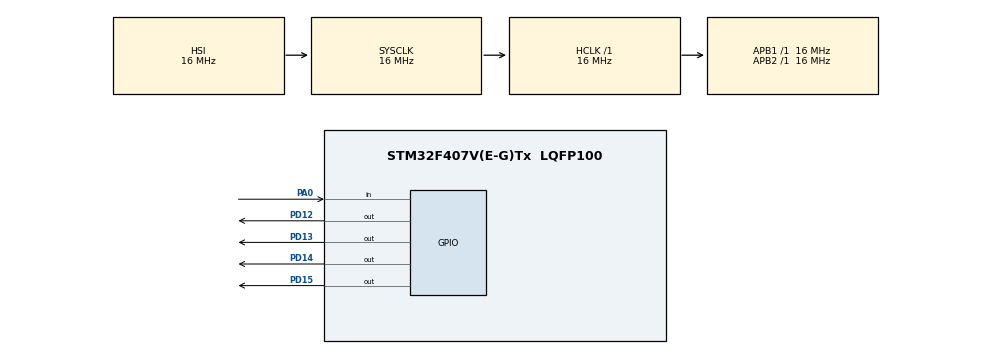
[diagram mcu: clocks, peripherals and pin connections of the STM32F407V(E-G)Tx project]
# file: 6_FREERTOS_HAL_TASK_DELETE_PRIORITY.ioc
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Mcu.Family=STM32F4
Mcu.Name=STM32F407V(E-G)Tx
Mcu.Package=LQFP100
NVIC.PriorityGroup=NVIC_PRIORITYGROUP_4
PA0-WKUP.Signal=GPIO_Input
PD12.Signal=GPIO_Output
PD13.Signal=GPIO_Output
PD14.Signal=GPIO_Output
PD15.Signal=GPIO_Output
ProjectManager.HeapSize=0x200
ProjectManager.StackSize=0x400
ProjectManager.TargetToolchain=STM32CubeIDE
RCC.AHBFreq_Value=16000000
RCC.APB1Freq_Value=16000000
RCC.APB2Freq_Value=16000000
RCC.CortexFreq_Value=16000000
RCC.HSE_VALUE=25000000
RCC.HSI_VALUE=16000000
RCC.LSE_VALUE=32768
RCC.SYSCLKFreq_VALUE=16000000
RCC.VCOOutputFreq_Value=192000000
board=custom

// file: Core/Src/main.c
/* USER CODE BEGIN Header */
/**
  ******************************************************************************
  * @file           : main.c
  * @brief          : Main program body
  ******************************************************************************
  * @attention
  *
  * Copyright (c) 2022 STMicroelectronics.
  * All rights reserved.
  *
  * This software is licensed under terms that can be found in the LICENSE file
  * in the root directory of this software component.
  * If no LICENSE file comes with this software, it is provided AS-IS.
  *
  ******************************************************************************
  */
/* USER CODE END Header */
#include "main.h"

/* USER CODE BEGIN Includes */
#include "FreeRTOS.h"
#include "task.h"
/* USER CODE END Includes */

/* USER CODE BEGIN PV */
TaskHandle_t MyTask1Handle = NULL;
TaskHandle_t MyTask2Handle = NULL;
/* USER CODE END PV */

void SystemClock_Config(void);
static void MX_GPIO_Init(void);
/* USER CODE BEGIN PFP */
void Task1Handler(void *params);
void Task2Handler(void *params);
void RTOSDelay(uint32_t *DelayMs);
/* USER CODE END PFP */

int main(void)
{

  /* MCU Configuration--------------------------------------------------------*/

  /* Reset of all peripherals, Initializes the Flash interface and the Systick. */
  HAL_Init();

  /* Configure the system clock */
  SystemClock_Config();

  /* Initialize all configured peripherals */
  MX_GPIO_Init();
  /* USER CODE BEGIN 2 */
  xTaskCreate(Task1Handler, "Task1", configMINIMAL_STACK_SIZE, NULL, 4, &MyTask1Handle);
  xTaskCreate(Task2Handler, "Task2", configMINIMAL_STACK_SIZE, NULL, 3 , &MyTask2Handle);

  vTaskStartScheduler();
  /* USER CODE END 2 */

  /* Infinite loop */
  while (1)
  {

  }
}

void SystemClock_Config(void)
{
  RCC_OscInitTypeDef RCC_OscInitStruct = {0};
  RCC_ClkInitTypeDef RCC_ClkInitStruct = {0};

  /** Configure the main internal regulator output voltage
  */
  __HAL_RCC_PWR_CLK_ENABLE();
  __HAL_PWR_VOLTAGESCALING_CONFIG(PWR_REGULATOR_VOLTAGE_SCALE1);

  /** Initializes the RCC Oscillators according to the specified parameters
  * in the RCC_OscInitTypeDef structure.
  */
  RCC_OscInitStruct.OscillatorType = RCC_OSCILLATORTYPE_HSI;
  RCC_OscInitStruct.HSIState = RCC_HSI_ON;
  RCC_OscInitStruct.HSICalibrationValue = RCC_HSICALIBRATION_DEFAULT;
  RCC_OscInitStruct.PLL.PLLState = RCC_PLL_NONE;
  if (HAL_RCC_OscConfig(&RCC_OscInitStruct) != HAL_OK)
  {
    Error_Handler();
  }

  /** Initializes the CPU, AHB and APB buses clocks
  */
  RCC_ClkInitStruct.ClockType = RCC_CLOCKTYPE_HCLK|RCC_CLOCKTYPE_SYSCLK
                              |RCC_CLOCKTYPE_PCLK1|RCC_CLOCKTYPE_PCLK2;
  RCC_ClkInitStruct.SYSCLKSource = RCC_SYSCLKSOURCE_HSI;
  RCC_ClkInitStruct.AHBCLKDivider = RCC_SYSCLK_DIV1;
  RCC_ClkInitStruct.APB1CLKDivider = RCC_HCLK_DIV1;
  RCC_ClkInitStruct.APB2CLKDivider = RCC_HCLK_DIV1;

  if (HAL_RCC_ClockConfig(&RCC_ClkInitStruct, FLASH_LATENCY_0) != HAL_OK)
  {
    Error_Handler();
  }
}

static void MX_GPIO_Init(void)
{
  GPIO_InitTypeDef GPIO_InitStruct = {0};

  /* GPIO Ports Clock Enable */
  __HAL_RCC_GPIOA_CLK_ENABLE();
  __HAL_RCC_GPIOD_CLK_ENABLE();

  /*Configure GPIO pin Output Level */
  HAL_GPIO_WritePin(GPIOD, GPIO_PIN_12|GPIO_PIN_13|GPIO_PIN_14|GPIO_PIN_15, GPIO_PIN_RESET);

  /*Configure GPIO pin : PA0 */
  GPIO_InitStruct.Pin = GPIO_PIN_0;
  GPIO_InitStruct.Mode = GPIO_MODE_INPUT;
  GPIO_InitStruct.Pull = GPIO_NOPULL;
  HAL_GPIO_Init(GPIOA, &GPIO_InitStruct);

  /*Configure GPIO pins : PD12 PD13 PD14 PD15 */
  GPIO_InitStruct.Pin = GPIO_PIN_12|GPIO_PIN_13|GPIO_PIN_14|GPIO_PIN_15;
  GPIO_InitStruct.Mode = GPIO_MODE_OUTPUT_PP;
  GPIO_InitStruct.Pull = GPIO_NOPULL;
  GPIO_InitStruct.Speed = GPIO_SPEED_FREQ_LOW;
  HAL_GPIO_Init(GPIOD, &GPIO_InitStruct);

}

/* USER CODE BEGIN 4 */
void Task1Handler(void *params){
	  while (1)
	  {
		  HAL_GPIO_TogglePin(GPIOD, GPIO_PIN_12 |GPIO_PIN_13);
		  RTOSDelay(1000);
		  if(HAL_GPIO_ReadPin(GPIOA, GPIO_PIN_0)==GPIO_PIN_SET)
		  {
			  vTaskDelete(MyTask1Handle);
			  //osThreadSuspend(MyTask1Handle   // İF WORK WITH CMSIS OS
		  }
	  }
}
void Task2Handler(void *params){
	  while (1)
	  {
		  HAL_GPIO_TogglePin(GPIOD, GPIO_PIN_14 |GPIO_PIN_15);
		  RTOSDelay(500);
	  }
}

void RTOSDelay(uint32_t *DelayMs){

	uint32_t CurrenTick = xTaskGetTickCount();
	uint32_t DelayTick = pdMS_TO_TICKS(DelayMs);

	while(xTaskGetTickCount() < (CurrenTick + DelayTick));
}

/* USER CODE END 4 */

void Error_Handler(void)
{
  __disable_irq();
  while (1)
  {
  }
}
